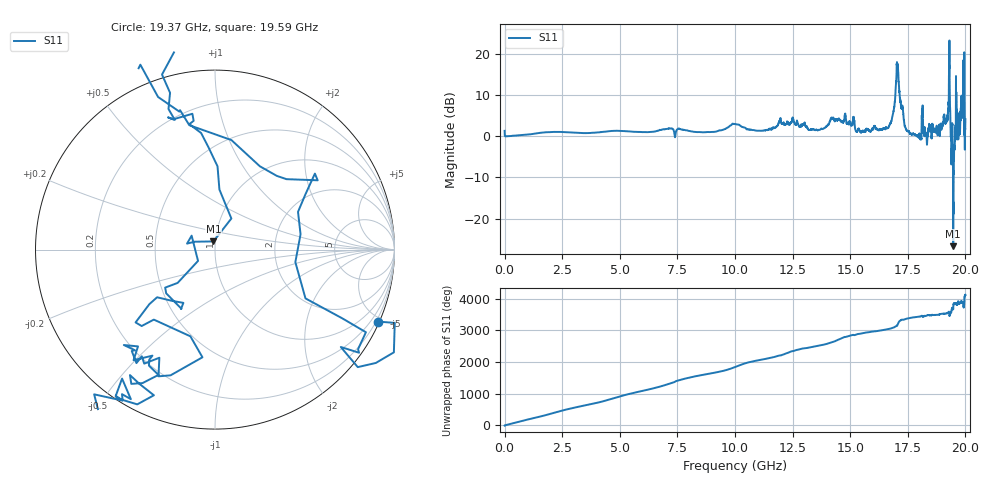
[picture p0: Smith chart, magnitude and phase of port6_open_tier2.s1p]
! Created with skrf 1.8.0 (http://scikit-rf.org).
# GHz S RI R 50.0
!freq ReS11 ImS11
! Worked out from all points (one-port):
!   10000 points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, 3 MHz to 20 GHz, reference 50 ohm
!   lowest |S11| = -26.7 dB at 19.47 GHz (marker M1), VSWR 1.10, Z = 48.9 + j4.47 ohm
!   |S11| at or under -10 dB: 19.46825 GHz to 19.48314 GHz (14.9 MHz wide, 0.0765 % of centre)
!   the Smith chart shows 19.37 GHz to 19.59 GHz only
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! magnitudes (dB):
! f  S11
! 3 MHz  1.3
! 2.503 GHz  1.0
! 5.003 GHz  1.3
! 7.503 GHz  1.7
! 10 GHz  2.9
! 11.15 GHz  1.3
! 12.5 GHz  4.3
! 13.53 GHz  1.6
! 14.21 GHz  4.3
! 15 GHz  3.0
! 15.5 GHz  1.1
! 16.61 GHz  1.9
! 16.84 GHz  4.9
! 17.05 GHz  17.4
! 17.3 GHz  5.5
! 17.5 GHz  1.2
! 17.99 GHz  0.4
! 18.19 GHz  1.1
! 18.8 GHz  0.7
! 19.16 GHz  3.9
! 19.25 GHz  5.9
! 19.36 GHz  0.6
! 19.42 GHz  0.9
! 19.47 GHz  -26.7
! 19.63 GHz  0.3
! 19.73 GHz  4.3
! 19.86 GHz  6.1
! 20 GHz  4.1
